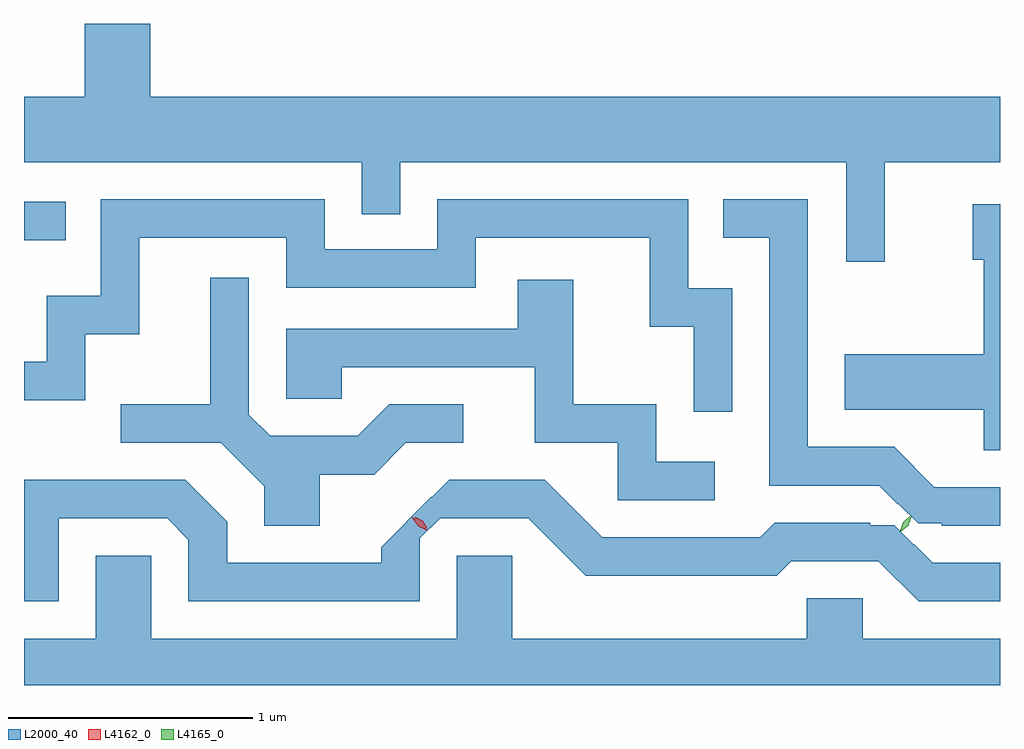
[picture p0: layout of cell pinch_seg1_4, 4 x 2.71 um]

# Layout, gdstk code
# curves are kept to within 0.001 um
import gdstk
lib = gdstk.Library(unit=1e-6, precision=1e-09)
def R(c, l, rs):  # rectangles x0, y0, x1, y1
    for r in rs: c.add(gdstk.rectangle(r[:2], r[2:], *l))
def P(c, l, *ps):  # polygons
    for p in ps: c.add(gdstk.Polygon(p, *l))
L2000_40 = (2000, 40)
L4162_0 = (4162, 0)
L4165_0 = (4165, 0)

pinch_seg1_4 = lib.new_cell('pinch_seg1_4')
R(pinch_seg1_4, L2000_40, [(1893.147,841.536,1893.318,841.694)])
P(pinch_seg1_4, L2000_40, [(1896.674,841.856),(1897.147,841.856),(1897.147,842.124),(1893.664,842.124),(1893.664,842.424),(1893.396,842.424),(1893.396,842.124),(1893.147,842.124),(1893.147,841.856),(1894.531,841.856),(1894.531,841.643),(1894.689,841.643),(1894.689,841.856),(1896.516,841.856),(1896.516,841.448),(1896.674,841.448)],
  [(1897.147,840.524),(1896.878,840.524),(1896.713,840.689),(1896.359,840.689),(1896.359,841.704),(1896.013,841.704),(1896.013,841.546),(1896.201,841.546),(1896.201,840.531),(1896.652,840.531),(1896.728,840.455),(1896.73,840.457),(1896.811,840.376),(1896.908,840.376),(1896.908,840.366),(1897.147,840.366)],
  [(1896.049,841.339),(1895.869,841.339),(1895.869,841.704),(1894.841,841.704),(1894.841,841.499),(1894.379,841.499),(1894.379,841.704),(1893.461,841.704),(1893.461,841.309),(1893.241,841.309),(1893.241,841.039),(1893.147,841.039),(1893.147,840.881),(1893.399,840.881),(1893.399,841.151),(1893.619,841.151),(1893.619,841.546),(1894.221,841.546),(1894.221,841.341),(1894.999,841.341),(1894.999,841.546),(1895.711,841.546),(1895.711,841.181),(1895.891,841.181),(1895.891,840.833),(1896.049,840.833)],
  [(1897.147,841.684),(1897.036,841.684),(1897.036,841.456),(1897.081,841.456),(1897.081,841.069),(1896.511,841.069),(1896.511,840.841),(1897.081,840.841),(1897.081,840.676),(1897.147,840.676)],
  [(1894.359,840.576),(1894.582,840.576),(1894.712,840.706),(1894.948,840.706),(1894.948,840.864),(1894.644,840.864),(1894.514,840.734),(1894.157,840.734),(1894.069,840.822),(1894.069,841.383),(1893.911,841.383),(1893.911,840.864),(1893.543,840.864),(1893.543,840.706),(1893.954,840.706),(1894.131,840.529),(1894.131,840.366),(1894.359,840.366)],
  [(1895.978,840.629),(1895.739,840.629),(1895.739,840.864),(1895.399,840.864),(1895.399,841.374),(1895.171,841.374),(1895.171,841.174),(1894.221,841.174),(1894.221,840.886),(1894.449,840.886),(1894.449,841.016),(1895.241,841.016),(1895.241,840.706),(1895.581,840.706),(1895.581,840.471),(1895.978,840.471)],
  [(1893.289,840.396),(1893.734,840.396),(1893.821,840.309),(1893.821,840.056),(1894.769,840.056),(1894.769,840.314),(1894.852,840.397),(1895.214,840.396),(1895.449,840.161),(1896.232,840.161),(1896.292,840.221),(1896.649,840.221),(1896.814,840.056),(1897.147,840.056),(1897.147,840.214),(1896.871,840.214),(1896.795,840.29),(1896.793,840.288),(1896.713,840.369),(1896.615,840.369),(1896.615,840.379),(1896.224,840.379),(1896.164,840.319),(1895.517,840.319),(1895.282,840.554),(1894.89,840.554),(1894.818,840.482),(1894.816,840.484),(1894.611,840.279),(1894.611,840.214),(1893.979,840.214),(1893.979,840.382),(1893.807,840.554),(1893.147,840.554),(1893.147,840.056),(1893.289,840.056)],
  [(1897.147,839.904),(1896.584,839.904),(1896.584,840.069),(1896.356,840.069),(1896.356,839.904),(1895.149,839.904),(1895.149,840.244),(1894.921,840.244),(1894.921,839.904),(1893.669,839.904),(1893.669,840.244),(1893.441,840.244),(1893.441,839.904),(1893.147,839.904),(1893.147,839.712),(1897.147,839.712)])
P(pinch_seg1_4, L4162_0, [(1894.799,840.354),(1894.767,840.372),(1894.748,840.403),(1894.748,840.404),(1894.749,840.404),(1894.781,840.386),(1894.8,840.355),(1894.8,840.354)],
  [(1894.799,840.345),(1894.762,840.365),(1894.737,840.4),(1894.737,840.401),(1894.738,840.401),(1894.775,840.38),(1894.8,840.345),(1894.8,840.345)])
P(pinch_seg1_4, L4165_0, [(1896.736,840.341),(1896.736,840.342),(1896.75,840.38),(1896.779,840.408),(1896.779,840.408),(1896.78,840.408),(1896.766,840.369),(1896.737,840.341)],
  [(1896.74,840.341),(1896.74,840.342),(1896.754,840.378),(1896.783,840.403),(1896.784,840.403),(1896.784,840.402),(1896.77,840.366),(1896.741,840.341)])

lib.write_gds('pinch_seg1_4.gds')
